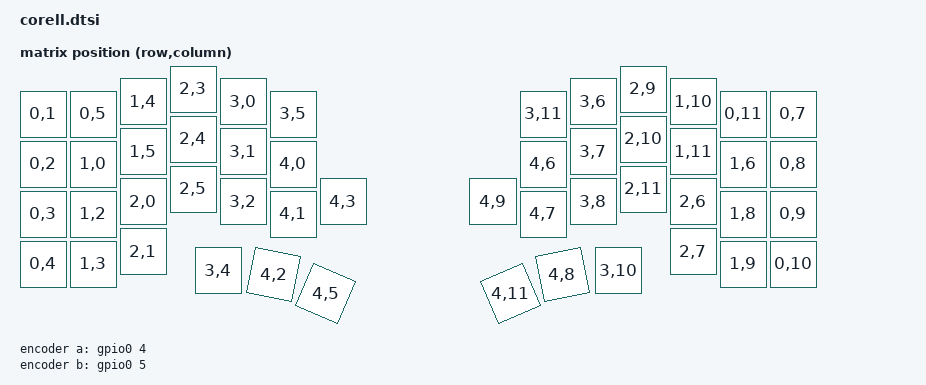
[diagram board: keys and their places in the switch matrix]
#include <dt-bindings/zmk/matrix_transform.h>
#include <dt-bindings/zmk/input_transform.h>
#include <dt-bindings/input/input-event-codes.h>
#include <dt-bindings/zmk/bt.h>
#include <input/processors.dtsi>
#include <physical_layouts.dtsi>

&uicr {
    nfct-pins-as-gpios;
};

/ {
    chosen {
        zmk,physical-layout = &default_layout;
        zmk,kscan = &kscan0;
    };

    /* Keep key scanning identical to Corchibi; the PCB matrix did not change. */
    kscan0: kscan {
        compatible = "zmk,kscan-gpio-charlieplex";
        wakeup-source;
    };

    split_inputs {
        #address-cells = <1>;
        #size-cells = <0>;

        trackpad_split_L: trackpad_split_L@0 {
            compatible = "zmk,input-split";
            reg = <0>;
            status = "disabled";
        };
    };

    trackpad_listener_L: trackpad_listener_L {
        compatible = "zmk,input-listener";
        status = "disabled";
        device = <&trackpad_split_L>;
        input-processors =
            <&zip_xy_transform (INPUT_TRANSFORM_Y_INVERT)>,
            <&zip_xy_to_scroll_mapper>,
            <&zip_scroll_scaler 1 4>;
    };

    trackpad_listener_R: trackpad_listener_R {
        compatible = "zmk,input-listener";
        status = "disabled";
    };

    encoder: encoder {
        compatible = "alps,ec11";
        a-gpios = <&gpio0 4 (GPIO_ACTIVE_HIGH | GPIO_PULL_UP)>;
        b-gpios = <&gpio0 5 (GPIO_ACTIVE_HIGH | GPIO_PULL_UP)>;
        steps = <80>;
        status = "disabled";
    };

    sensors: sensors {
        compatible = "zmk,keymap-sensors";
        sensors = <&encoder>;
        triggers-per-rotation = <20>;
    };

    /* Keep the matrix transform and physical layout identical to Corchibi. */
    default_transform: keymap_transform_0 {
        compatible = "zmk,matrix-transform";
        columns = <12>;
        rows = <6>;
        map = <
            RC(0,1)  RC(0,5)  RC(1,4)  RC(2,3)  RC(3,0)  RC(3,5)  RC(3,11)  RC(3,6)  RC(2,9)  RC(1,10)  RC(0,11)  RC(0,7)
            RC(0,2)  RC(1,0)  RC(1,5)  RC(2,4)  RC(3,1)  RC(4,0)  RC(4,6)  RC(3,7)  RC(2,10)  RC(1,11)  RC(1,6)  RC(0,8)
            RC(0,3)  RC(1,2)  RC(2,0)  RC(2,5)  RC(3,2)  RC(4,1)  RC(4,3)  RC(4,9)  RC(4,7)  RC(3,8)  RC(2,11)  RC(2,6)  RC(1,8)  RC(0,9)
            RC(0,4)  RC(1,3)  RC(2,1)  RC(3,4)  RC(4,2)  RC(4,5)  RC(4,11)  RC(4,8)  RC(3,10)  RC(2,7)  RC(1,9)  RC(0,10)
        >;
    };

    default_layout: default_layout {
        compatible = "zmk,physical-layout";
        display-name = "Default";
        transform = <&default_transform>;
        kscan = <&kscan0>;

        keys
            = <&key_physical_attrs 100 100     0    50       0     0     0>
            , <&key_physical_attrs 100 100   100    50       0     0     0>
            , <&key_physical_attrs 100 100   200    25       0     0     0>
            , <&key_physical_attrs 100 100   300     0       0     0     0>
            , <&key_physical_attrs 100 100   400    25       0     0     0>
            , <&key_physical_attrs 100 100   500    50       0     0     0>
            , <&key_physical_attrs 100 100  1000    50       0     0     0>
            , <&key_physical_attrs 100 100  1100    25       0     0     0>
            , <&key_physical_attrs 100 100  1200     0       0     0     0>
            , <&key_physical_attrs 100 100  1300    25       0     0     0>
            , <&key_physical_attrs 100 100  1400    50       0     0     0>
            , <&key_physical_attrs 100 100  1500    50       0     0     0>
            , <&key_physical_attrs 100 100     0   150       0     0     0>
            , <&key_physical_attrs 100 100   100   150       0     0     0>
            , <&key_physical_attrs 100 100   200   125       0     0     0>
            , <&key_physical_attrs 100 100   300   100       0     0     0>
            , <&key_physical_attrs 100 100   400   125       0     0     0>
            , <&key_physical_attrs 100 100   500   150       0     0     0>
            , <&key_physical_attrs 100 100  1000   150       0     0     0>
            , <&key_physical_attrs 100 100  1100   125       0     0     0>
            , <&key_physical_attrs 100 100  1200   100       0     0     0>
            , <&key_physical_attrs 100 100  1300   125       0     0     0>
            , <&key_physical_attrs 100 100  1400   150       0     0     0>
            , <&key_physical_attrs 100 100  1500   150       0     0     0>
            , <&key_physical_attrs 100 100     0   250       0     0     0>
            , <&key_physical_attrs 100 100   100   250       0     0     0>
            , <&key_physical_attrs 100 100   200   225       0     0     0>
            , <&key_physical_attrs 100 100   300   200       0     0     0>
            , <&key_physical_attrs 100 100   400   225       0     0     0>
            , <&key_physical_attrs 100 100   500   250       0     0     0>
            , <&key_physical_attrs 100 100   600   225       0     0     0>
            , <&key_physical_attrs 100 100   900   225       0     0     0>
            , <&key_physical_attrs 100 100  1000   250       0     0     0>
            , <&key_physical_attrs 100 100  1100   225       0     0     0>
            , <&key_physical_attrs 100 100  1200   200       0     0     0>
            , <&key_physical_attrs 100 100  1300   225       0     0     0>
            , <&key_physical_attrs 100 100  1400   250       0     0     0>
            , <&key_physical_attrs 100 100  1500   250       0     0     0>
            , <&key_physical_attrs 100 100     0   350       0     0     0>
            , <&key_physical_attrs 100 100   100   350       0     0     0>
            , <&key_physical_attrs 100 100   200   325       0     0     0>
            , <&key_physical_attrs 100 100   350   363       0     0     0>
            , <&key_physical_attrs 100 100   450   370    1193   500   475>
            , <&key_physical_attrs 100 100   550   365    2300   500   475>
            , <&key_physical_attrs 100 100   950   365 (-2300)  1100   475>
            , <&key_physical_attrs 100 100  1050   370 (-1193)  1100   475>
            , <&key_physical_attrs 100 100  1150   363       0     0     0>
            , <&key_physical_attrs 100 100  1300   325       0     0     0>
            , <&key_physical_attrs 100 100  1400   350       0     0     0>
            , <&key_physical_attrs 100 100  1500   350       0     0     0>
            ;
    };
};

&vbatt {
    compatible = "corell,battery-voltage-divider";
    io-channels = <&adc 0>;
    /delete-property/ power-gpios;
    output-ohms = <470000>;
    full-ohms = <(1000000 + 470000)>;
    mv-to-pct-thresholds = <1100 1150 1200 1220 1240 1260 1280 1300 1320 1350 1400>;
};
